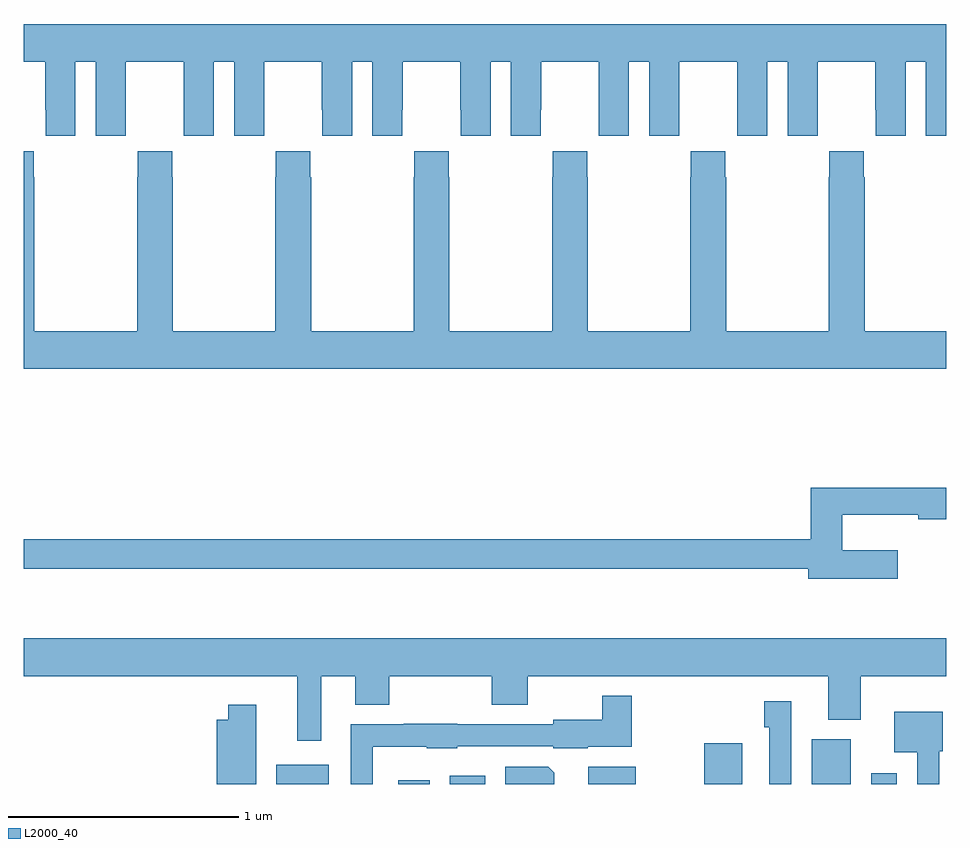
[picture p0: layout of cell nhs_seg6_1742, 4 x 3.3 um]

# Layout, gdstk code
import gdstk
lib = gdstk.Library(unit=1e-6, precision=1e-09)
def R(c, l, rs):  # rectangles x0, y0, x1, y1
    for r in rs: c.add(gdstk.rectangle(r[:2], r[2:], *l))
def P(c, l, *ps):  # polygons
    for p in ps: c.add(gdstk.Polygon(p, *l))
L2000_40 = (2000, 40)

nhs_seg6_1742 = lib.new_cell('nhs_seg6_1742')
R(nhs_seg6_1742, L2000_40, [(216.095,981.5,216.322,981.583), (216.623,981.5,216.76,981.517), (216.848,981.5,217,981.535), (217.448,981.5,217.654,981.574), (217.951,981.5,218.116,981.676), (218.417,981.5,218.587,981.694), (218.675,981.5,218.785,981.547)])
P(nhs_seg6_1742, L2000_40, [(215.224,984.632),(215.312,984.632),(215.312,984.312),(215.442,984.312),(215.442,984.424),(215.443,984.424),(215.443,984.632),(215.693,984.632),(215.693,984.424),(215.694,984.424),(215.694,984.312),(215.824,984.312),(215.824,984.632),(215.912,984.632),(215.912,984.312),(216.042,984.312),(216.042,984.424),(216.043,984.424),(216.043,984.632),(216.293,984.632),(216.293,984.424),(216.294,984.424),(216.294,984.312),(216.424,984.312),(216.424,984.632),(216.512,984.632),(216.512,984.312),(216.642,984.312),(216.642,984.424),(216.643,984.424),(216.643,984.632),(216.893,984.632),(216.893,984.424),(216.894,984.424),(216.894,984.312),(217.024,984.312),(217.024,984.632),(217.112,984.632),(217.112,984.312),(217.242,984.312),(217.242,984.424),(217.243,984.424),(217.243,984.632),(217.493,984.632),(217.493,984.424),(217.494,984.424),(217.494,984.312),(217.624,984.312),(217.624,984.632),(217.712,984.632),(217.712,984.312),(217.842,984.312),(217.842,984.424),(217.843,984.424),(217.843,984.632),(218.093,984.632),(218.093,984.424),(218.094,984.424),(218.094,984.312),(218.224,984.312),(218.224,984.632),(218.312,984.632),(218.312,984.312),(218.442,984.312),(218.442,984.424),(218.443,984.424),(218.443,984.632),(218.693,984.632),(218.693,984.424),(218.694,984.424),(218.694,984.312),(218.824,984.312),(218.824,984.632),(218.912,984.632),(218.912,984.312),(219,984.312),(219,984.796),(215,984.796),(215,984.632),(215.093,984.632),(215.093,984.424),(215.094,984.424),(215.094,984.312),(215.224,984.312)],
  [(219,983.464),(218.646,983.464),(218.646,984.131),(218.643,984.131),(218.643,984.244),(218.493,984.244),(218.493,984.131),(218.491,984.131),(218.491,983.464),(218.046,983.464),(218.046,984.131),(218.043,984.131),(218.043,984.244),(217.893,984.244),(217.893,984.131),(217.891,984.131),(217.891,983.464),(217.446,983.464),(217.446,984.131),(217.443,984.131),(217.443,984.244),(217.293,984.244),(217.293,984.131),(217.291,984.131),(217.291,983.464),(216.846,983.464),(216.846,984.131),(216.843,984.131),(216.843,984.244),(216.693,984.244),(216.693,984.131),(216.691,984.131),(216.691,983.464),(216.246,983.464),(216.246,984.131),(216.243,984.131),(216.243,984.244),(216.093,984.244),(216.093,984.131),(216.091,984.131),(216.091,983.464),(215.646,983.464),(215.646,984.131),(215.643,984.131),(215.643,984.244),(215.493,984.244),(215.493,984.131),(215.491,984.131),(215.491,983.464),(215.046,983.464),(215.046,984.131),(215.043,984.131),(215.043,984.244),(215,984.244),(215,983.3),(219,983.3)],
  [(218.791,982.513),(218.549,982.513),(218.549,982.667),(218.878,982.667),(218.878,982.648),(219,982.648),(219,982.784),(218.413,982.784),(218.413,982.562),(215,982.562),(215,982.434),(218.402,982.434),(218.402,982.391),(218.791,982.391)],
  [(216.289,981.968),(216.437,981.968),(216.437,981.844),(216.585,981.844),(216.585,981.968),(217.03,981.968),(217.03,981.844),(217.185,981.844),(217.185,981.968),(218.489,981.968),(218.489,981.779),(218.629,981.779),(218.629,981.968),(219,981.968),(219,982.132),(215,982.132),(215,981.968),(216.185,981.968),(216.185,981.687),(216.289,981.687)],
  [(216.513,981.662),(216.747,981.662),(216.747,981.656),(216.879,981.656),(216.879,981.663),(217.296,981.663),(217.296,981.656),(217.446,981.656),(217.446,981.662),(217.637,981.662),(217.637,981.883),(217.509,981.883),(217.509,981.778),(217.296,981.778),(217.296,981.759),(216.879,981.759),(216.879,981.761),(216.647,981.761),(216.647,981.759),(216.417,981.759),(216.417,981.5),(216.513,981.5)],
  [(218.328,981.859),(218.212,981.859),(218.212,981.746),(218.232,981.746),(218.232,981.5),(218.328,981.5)],
  [(216.007,981.844),(215.886,981.844),(215.886,981.778),(215.837,981.778),(215.837,981.5),(216.007,981.5)],
  [(218.97,981.642),(218.986,981.642),(218.986,981.814),(218.774,981.814),(218.774,981.638),(218.874,981.638),(218.874,981.5),(218.97,981.5)],
  [(217.3,981.548),(217.274,981.574),(217.088,981.574),(217.088,981.5),(217.3,981.5)])

lib.write_gds('nhs_seg6_1742.gds')
